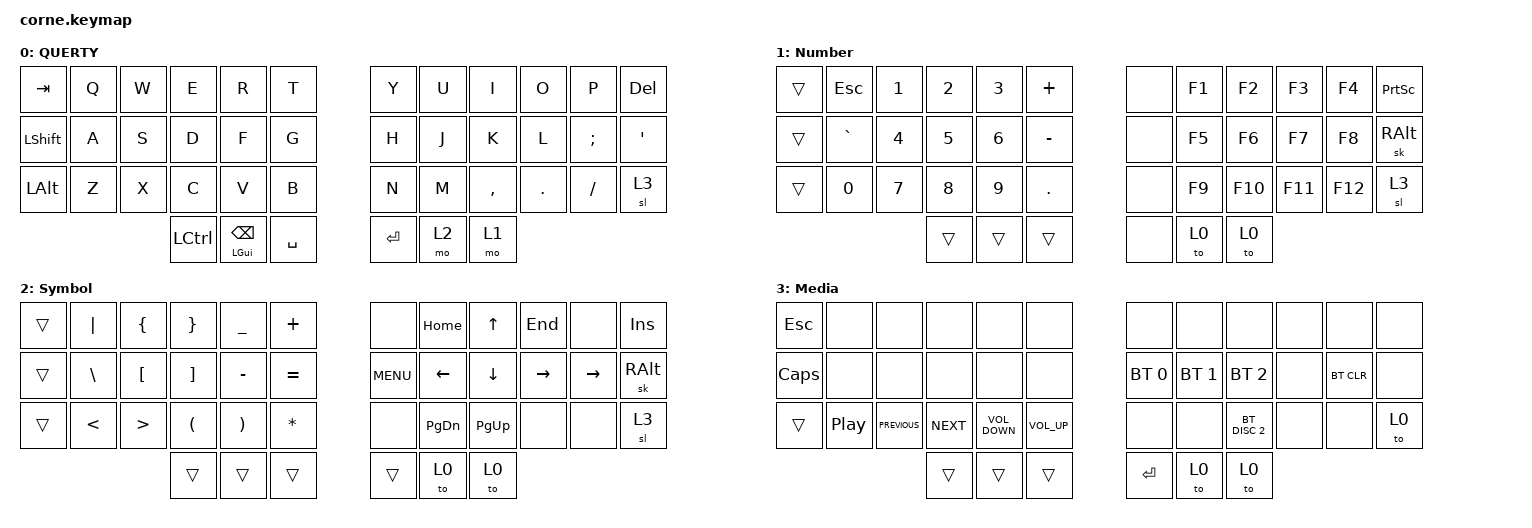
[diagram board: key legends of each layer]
/*
 * Copyright 2024 Michał Minarowski (@n3oney)
 * 
 * Originally created for QMK by Mark Stosberg (@markstos)
 * 
 * SPDX-License-Identifier: GPL-2.0-or-later
 */

#include <behaviors.dtsi>
#include <dt-bindings/zmk/bt.h>
#include <dt-bindings/zmk/keys.h>

/ {
    combos { compatible = "zmk,combos"; };

    cl_1: change_layer1 {
        compatible = "zmk,behavior-tap-dance";
        #binding-cells = <0>;
        tapping-term-ms = <200>;
        bindings = <&mo 1>, <&to 1>, <&to 0>;
    };

    cl_2: change_layer2 {
        compatible = "zmk,behavior-tap-dance";
        #binding-cells = <0>;
        tapping-term-ms = <200>;
        bindings = <&mo 2>, <&to 2>, <&to 0>;
    };


//    cl: change_layer {
//        compatible = "zmk,behavior-hold-tap";
//        #binding-cells = <2>;
//        flavor = "hold-preferred";
//        tapping-term-ms = <200>;
//        bindings = <&mo>, <&to>;
//    };

   qt: quick_tap {
        compatible = "zmk,behavior-hold-tap";
        #binding-cells = <2>;
        flavor = "balanced";
        tapping-term-ms = <150>;                        // <---[[produces tap if held longer than tapping-term-ms]]
        quick-tap-ms = <200>;
        bindings = <&kp>, <&kp>;
    };

    keymap {
        compatible = "zmk,keymap";

        default_layer {
            display-name = "QUERTY";
            bindings = <
&kp TAB    &kp Q  &kp W  &kp E      &kp R                   &kp T        &kp Y        &kp U      &kp I            &kp O    &kp P             &kp DELETE
&kp LSHFT  &kp A  &kp S  &kp D      &kp F                   &kp G        &kp H        &kp J      &kp K            &kp L    &kp SEMICOLON     &kp SINGLE_QUOTE
&kp LALT   &kp Z  &kp X  &kp C      &kp V                   &kp B        &kp N        &kp M      &kp COMMA        &kp DOT  &kp FSLH          &sl 3
                         &kp LCTRL  &qt LEFT_GUI BACKSPACE  &kp SPACE    &kp ENTER    &mo 2      &mo 1
            >;
        };

        lower_layer {
            display-name = "Number";
            bindings = <
&trans  &kp ESCAPE   &kp NUMBER_1  &kp NUMBER_2  &kp NUMBER_3  &kp PLUS   &none       &kp F1      &kp F2     &kp F3   &kp F4  &kp PRINTSCREEN
&trans  &kp GRAVE    &kp NUMBER_4  &kp NUMBER_5  &kp NUMBER_6  &kp MINUS  &none       &kp F5      &kp F6     &kp F7   &kp F8  &sk RIGHT_ALT
&trans  &kp NUMBER_0 &kp NUMBER_7  &kp NUMBER_8  &kp NUMBER_9  &kp DOT    &none       &kp F9      &kp F10    &kp F11  &kp F12 &sl 3
                                   &trans        &trans        &trans     &none       &to 0       &to 0
            >;
        };

        raise_layer {
            display-name = "Symbol";
            bindings = <
&trans     &kp PIPE       &kp LEFT_BRACE    &kp RIGHT_BRACE      &kp UNDERSCORE        &kp PLUS       &none         &kp HOME       &kp UP_ARROW  &kp END     &none     &kp INSERT
&trans     &kp BACKSLASH  &kp LEFT_BRACKET  &kp RIGHT_BRACKET    &kp MINUS             &kp EQUAL      &kp K_MENU    &kp LEFT       &kp DOWN      &kp RIGHT   &kp RIGHT &sk RIGHT_ALT
&trans     &kp LESS_THAN  &kp GREATER_THAN  &kp LEFT_PARENTHESIS &kp RIGHT_PARENTHESIS &kp STAR       &none         &kp PAGE_DOWN  &kp PAGE_UP   &none       &none     &sl 3
                                            &trans               &trans                &trans         &trans        &to 0       &to 0
            >;
        };

        function_layer {
            display-name = "Media";
            bindings = <
&kp ESCAPE &none            &none          &none      &none             &none            &none         &none         &none          &none   &none       &none
&kp CAPS   &none            &none          &none      &none             &none            &bt BT_SEL 0  &bt BT_SEL 1  &bt BT_SEL 2   &none   &bt BT_CLR  &none
&trans     &kp C_PLAY_PAUSE &kp C_PREVIOUS &kp C_NEXT &kp C_VOLUME_DOWN &kp C_VOLUME_UP  &none         &none         &bt BT_DISC 2  &none   &none       &to 0
                                           &trans     &trans            &trans           &kp ENTER     &to 0         &to 0
            >;
        };
    };
};
